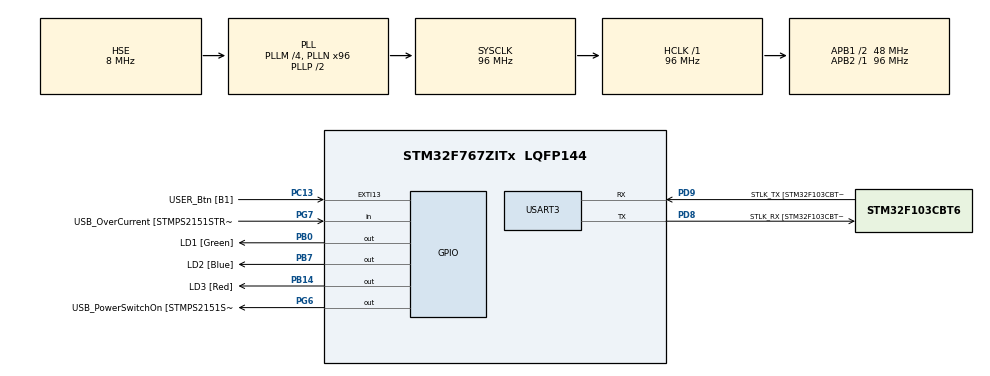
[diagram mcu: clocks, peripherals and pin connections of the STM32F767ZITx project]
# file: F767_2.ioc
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Mcu.Family=STM32F7
Mcu.Name=STM32F767ZITx
Mcu.Package=LQFP144
NVIC.PriorityGroup=NVIC_PRIORITYGROUP_4
NVIC.USART3_IRQn=true\:0\:0\:false\:false\:true\:true\:true\:true
PA1.GPIO_Label=RMII_REF_CLK [LAN8742A-CZ-TR_REFCLK0]
PA1.Signal=ETH_REF_CLK
PA10.GPIO_Label=USB_ID
PA10.Signal=USB_OTG_FS_ID
PA11.GPIO_Label=USB_DM
PA11.Signal=USB_OTG_FS_DM
PA12.GPIO_Label=USB_DP
PA12.Signal=USB_OTG_FS_DP
PA13.GPIO_Label=TMS
PA13.Mode=Serial_Wire
PA13.Signal=SYS_JTMS-SWDIO
PA14.GPIO_Label=TCK
PA14.Mode=Serial_Wire
PA14.Signal=SYS_JTCK-SWCLK
PA2.GPIO_Label=RMII_MDIO [LAN8742A-CZ-TR_MDIO]
PA2.Signal=ETH_MDIO
PA7.GPIO_Label=RMII_CRS_DV [LAN8742A-CZ-TR_CRS_DV]
PA7.Signal=ETH_CRS_DV
PA8.GPIO_Label=USB_SOF [TP1]
PA8.Signal=USB_OTG_FS_SOF
PA9.GPIO_Label=USB_VBUS
PA9.Signal=USB_OTG_FS_VBUS
PB0.GPIO_Label=LD1 [Green]
PB0.Signal=GPIO_Output
PB13.GPIO_Label=RMII_TXD1 [LAN8742A-CZ-TR_TXD1]
PB13.Signal=ETH_TXD1
PB14.GPIO_Label=LD3 [Red]
PB14.Signal=GPIO_Output
PB3.GPIO_Label=SWO
PB3.Signal=SYS_JTDO-SWO
PB7.GPIO_Label=LD2 [Blue]
PB7.Signal=GPIO_Output
PC1.GPIO_Label=RMII_MDC [LAN8742A-CZ-TR_MDC]
PC1.Signal=ETH_MDC
PC13.GPIO_Label=USER_Btn [B1]
PC13.Signal=GPXTI13
PC14/OSC32_IN.Mode=LSE-External-Oscillator
PC14/OSC32_IN.Signal=RCC_OSC32_IN
PC15/OSC32_OUT.Mode=LSE-External-Oscillator
PC15/OSC32_OUT.Signal=RCC_OSC32_OUT
PC4.GPIO_Label=RMII_RXD0 [LAN8742A-CZ-TR_RXD0]
PC4.Signal=ETH_RXD0
PC5.GPIO_Label=RMII_RXD1 [LAN8742A-CZ-TR_RXD1]
PC5.Signal=ETH_RXD1
PD8.GPIO_Label=STLK_RX [STM32F103CBT6_PA3]
PD8.Mode=Asynchronous
PD8.Signal=USART3_TX
PD9.GPIO_Label=STLK_TX [STM32F103CBT6_PA2]
PD9.Mode=Asynchronous
PD9.Signal=USART3_RX
PG11.GPIO_Label=RMII_TX_EN [LAN8742A-CZ-TR_TXEN]
PG11.Signal=ETH_TX_EN
PG13.GPIO_Label=RMII_TXD0 [LAN8742A-CZ-TR_TXD0]
PG13.Signal=ETH_TXD0
PG6.GPIO_Label=USB_PowerSwitchOn [STMPS2151STR_EN]
PG6.Signal=GPIO_Output
PG7.GPIO_Label=USB_OverCurrent [STMPS2151STR_FAULT]
PG7.Signal=GPIO_Input
PH0/OSC_IN.GPIO_Label=MCO [STM32F103CBT6_PA8]
PH0/OSC_IN.Mode=HSE-External-Clock-Source
PH0/OSC_IN.Signal=RCC_OSC_IN
PH1/OSC_OUT.Mode=HSE-External-Clock-Source
PH1/OSC_OUT.Signal=RCC_OSC_OUT
ProjectManager.HeapSize=0x200
ProjectManager.StackSize=0x400
ProjectManager.TargetToolchain=STM32CubeIDE
RCC.48MHZClocksFreq_Value=24000000
RCC.AHBFreq_Value=96000000
RCC.APB1CLKDivider=RCC_HCLK_DIV2
RCC.APB1Freq_Value=48000000
RCC.APB1TimFreq_Value=96000000
RCC.APB2Freq_Value=96000000
RCC.APB2TimFreq_Value=96000000
RCC.CortexFreq_Value=96000000
RCC.HCLKFreq_Value=96000000
RCC.HSE_VALUE=8000000
RCC.HSI_VALUE=16000000
RCC.PLLM=4
RCC.PLLMUL=RCC_PLL_MUL9
RCC.PLLN=96
RCC.PLLQ=4
RCC.PLLSourceVirtual=RCC_PLLSOURCE_HSE
RCC.PRESCALERUSB=RCC_USBCLKSOURCE_PLL_DIV1_5
RCC.SYSCLKFreq_VALUE=96000000
RCC.SYSCLKSource=RCC_SYSCLKSOURCE_PLLCLK
RCC.SYSCLKSourceVirtual=RCC_SYSCLKSOURCE_PLLCLK
RCC.USBFreq_Value=48000000
RCC.VCOOutputFreq_Value=192000000
USART3.VirtualMode-Asynchronous=VM_ASYNC
board=NUCLEO-F767ZI

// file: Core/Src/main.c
/* USER CODE BEGIN Header */
/**
  ******************************************************************************
  * @file           : main.c
  * @brief          : Main program body
  ******************************************************************************
  * @attention
  *
  * Copyright (c) 2022 STMicroelectronics.
  * All rights reserved.
  *
  * This software is licensed under terms that can be found in the LICENSE file
  * in the root directory of this software component.
  * If no LICENSE file comes with this software, it is provided AS-IS.
  *
  ******************************************************************************
  */
/* USER CODE END Header */
#include "main.h"
#include "usart.h"
#include "gpio.h"

/* USER CODE BEGIN Includes */
#include "ringbuff.h"
#include "protocol.h"
#include "commands.h"
#include <stdarg.h>
#include <string.h>
/* USER CODE END Includes */

/* USER CODE BEGIN PTD */
typedef uint8_t bool;
/* USER CODE END PTD */

/* USER CODE BEGIN PV */
volatile buffer_t Tx = {0}, Rx = {0};
framecontent frame;
/* USER CODE END PV */

void SystemClock_Config(void);
/* USER CODE BEGIN PFP */
void HAL_UART_RxCpltCallback(UART_HandleTypeDef *huart) {
	if (huart->Instance == USART3) {

		Rx.RXbuffIdx++;
		if (Rx.RXbuffIdx >= sizeOfBuffer) {
			Rx.RXbuffIdx = 0;
		}
		HAL_UART_Receive_IT(&huart3, &Rx.array[Rx.RXbuffIdx], 1);
	}
}

void HAL_UART_TxCpltCallback(UART_HandleTypeDef *huart){
	if(Tx.TXbuffIdx != Tx.RXbuffIdx){
		uint8_t tempChar = Tx.array[Tx.TXbuffIdx];
		Tx.TXbuffIdx++;

		if(Tx.TXbuffIdx >= sizeOfBuffer){
			Tx.TXbuffIdx = 0;
		}
		HAL_UART_Transmit_IT(&huart3, &tempChar, 1);
	}
}

void USART_Send(char* message, ...){
	char tempMsg[105];
	int i;
	volatile int send_idx = Tx.RXbuffIdx;

	va_list arglist;
	va_start(arglist, message);
	vsprintf(tempMsg, message, arglist);
	va_end(arglist);

	for (i = 0; i < strlen(tempMsg); i++) {
		Tx.array[send_idx] = tempMsg[i];
		send_idx++;
		if (send_idx >= sizeOfBuffer) {
			send_idx = 0;
		}
	}

	__disable_irq();
	if ((Tx.RXbuffIdx == Tx.TXbuffIdx) && (__HAL_UART_GET_FLAG(&huart3, UART_FLAG_TXE)==SET)) {
		Tx.RXbuffIdx = send_idx;
		uint8_t tmp = Tx.array[Tx.TXbuffIdx];
		Tx.TXbuffIdx++;
		if (Tx.TXbuffIdx >= sizeOfBuffer)
			Tx.TXbuffIdx = 0;

		HAL_UART_Transmit_IT(&huart3, &tmp, 1);
		}else{
			Tx.RXbuffIdx = send_idx;
		}
	__enable_irq();
}
/* USER CODE END PFP */

int main(void)
{

	/* MCU Configuration--------------------------------------------------------*/

	/* Reset of all peripherals, Initializes the Flash interface and the Systick. */
	HAL_Init();

	/* Configure the system clock */
	SystemClock_Config();

	/* Initialize all configured peripherals */
	MX_GPIO_Init();
	MX_USART3_UART_Init();

	/* Infinite loop */
	/* USER CODE BEGIN WHILE */
	HAL_UART_Receive_IT(&huart3, &Rx.array[Rx.RXbuffIdx], 1);
	bool receiving = false;
	bool processing = false;
	command_t response;
	uint8_t frameChar = '\0';
	uint8_t chars = 0;
	while (1)
	{
		if(Rx.RXbuffIdx != Rx.ReceivedCharIdx)
		{
			frameChar = Rx.array[Rx.ReceivedCharIdx];
			Rx.ReceivedCharIdx = Rx.RXbuffIdx; // odczytano znak i zaktualizowanie indeksu pomocniczego

			if(frameChar == 0x24) // '$'
			{
				receiving = true;
				//Rx.frameEndIdx = 0;
			}

			if(receiving)
			{
				Rx.tempArray[chars] = frameChar;
				chars++;

			}
			if(frameChar == 0x23) // '#'
			{
				receiving = false;
				processing = true;
				chars = 0;
				//Rx.frameEndIdx = 0;
			}
		}

		if(processing)
		{
			frame = parseRxBuffer();
			if(frame.frameOK)
			{
				response = commands();
				USART_Send(response.TX_payload);
			}
			else
			{
				USART_Send("Frame Error");
			}
			processing = false;
		}
	}
    /* USER CODE BEGIN 3 */

  	  /* USER CODE END 3 */
  /* USER CODE END WHILE */
}

void SystemClock_Config(void)
{
  RCC_OscInitTypeDef RCC_OscInitStruct = {0};
  RCC_ClkInitTypeDef RCC_ClkInitStruct = {0};

  /** Configure LSE Drive Capability
  */
  HAL_PWR_EnableBkUpAccess();

  /** Configure the main internal regulator output voltage
  */
  __HAL_RCC_PWR_CLK_ENABLE();
  __HAL_PWR_VOLTAGESCALING_CONFIG(PWR_REGULATOR_VOLTAGE_SCALE3);

  /** Initializes the RCC Oscillators according to the specified parameters
  * in the RCC_OscInitTypeDef structure.
  */
  RCC_OscInitStruct.OscillatorType = RCC_OSCILLATORTYPE_HSE;
  RCC_OscInitStruct.HSEState = RCC_HSE_BYPASS;
  RCC_OscInitStruct.PLL.PLLState = RCC_PLL_ON;
  RCC_OscInitStruct.PLL.PLLSource = RCC_PLLSOURCE_HSE;
  RCC_OscInitStruct.PLL.PLLM = 4;
  RCC_OscInitStruct.PLL.PLLN = 96;
  RCC_OscInitStruct.PLL.PLLP = RCC_PLLP_DIV2;
  RCC_OscInitStruct.PLL.PLLQ = 4;
  RCC_OscInitStruct.PLL.PLLR = 2;
  if (HAL_RCC_OscConfig(&RCC_OscInitStruct) != HAL_OK)
  {
    Error_Handler();
  }

  /** Activate the Over-Drive mode
  */
  if (HAL_PWREx_EnableOverDrive() != HAL_OK)
  {
    Error_Handler();
  }

  /** Initializes the CPU, AHB and APB buses clocks
  */
  RCC_ClkInitStruct.ClockType = RCC_CLOCKTYPE_HCLK|RCC_CLOCKTYPE_SYSCLK
                              |RCC_CLOCKTYPE_PCLK1|RCC_CLOCKTYPE_PCLK2;
  RCC_ClkInitStruct.SYSCLKSource = RCC_SYSCLKSOURCE_PLLCLK;
  RCC_ClkInitStruct.AHBCLKDivider = RCC_SYSCLK_DIV1;
  RCC_ClkInitStruct.APB1CLKDivider = RCC_HCLK_DIV2;
  RCC_ClkInitStruct.APB2CLKDivider = RCC_HCLK_DIV1;

  if (HAL_RCC_ClockConfig(&RCC_ClkInitStruct, FLASH_LATENCY_3) != HAL_OK)
  {
    Error_Handler();
  }
}

void Error_Handler(void)
{
  __disable_irq();
  while (1)
  {
  }
}
